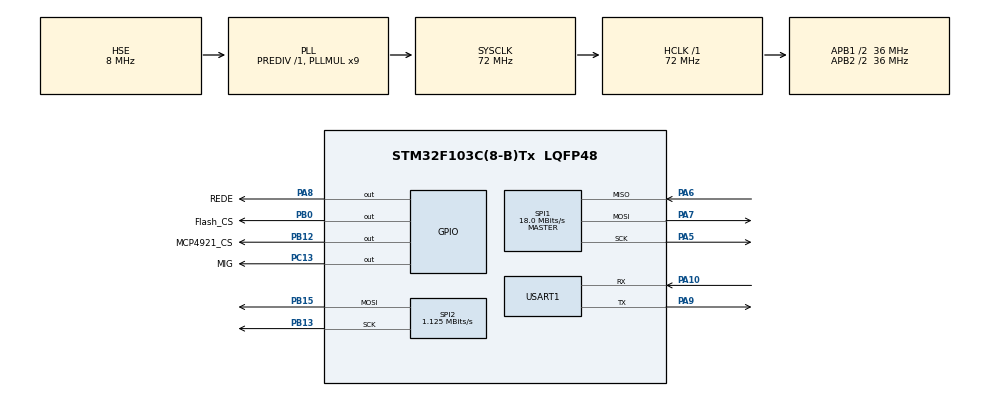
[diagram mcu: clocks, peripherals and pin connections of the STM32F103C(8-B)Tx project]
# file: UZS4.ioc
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Mcu.Family=STM32F1
Mcu.Name=STM32F103C(8-B)Tx
Mcu.Package=LQFP48
NVIC.PriorityGroup=NVIC_PRIORITYGROUP_4
NVIC.TIM2_IRQn=true\:0\:0\:false\:false\:true\:true\:true\:true
NVIC.USART1_IRQn=true\:0\:0\:false\:false\:true\:true\:true\:true
PA10.Mode=Asynchronous
PA10.Signal=USART1_RX
PA13.Mode=Serial_Wire
PA13.Signal=SYS_JTMS-SWDIO
PA14.Mode=Serial_Wire
PA14.Signal=SYS_JTCK-SWCLK
PA5.Mode=Full_Duplex_Master
PA5.Signal=SPI1_SCK
PA6.Mode=Full_Duplex_Master
PA6.Signal=SPI1_MISO
PA7.Mode=Full_Duplex_Master
PA7.Signal=SPI1_MOSI
PA8.GPIO_Label=REDE
PA8.Signal=GPIO_Output
PA9.Mode=Asynchronous
PA9.Signal=USART1_TX
PB0.GPIO_Label=Flash_CS
PB0.Signal=GPIO_Output
PB12.GPIO_Label=MCP4921_CS
PB12.GPIO_Speed=GPIO_SPEED_FREQ_MEDIUM
PB12.Signal=GPIO_Output
PB13.Mode=TX_Only_Simplex_Unidirect_Master
PB13.Signal=SPI2_SCK
PB15.Mode=TX_Only_Simplex_Unidirect_Master
PB15.Signal=SPI2_MOSI
PC13-TAMPER-RTC.GPIO_Label=MIG
PC13-TAMPER-RTC.Signal=GPIO_Output
PD0-OSC_IN.Mode=HSE-External-Oscillator
PD0-OSC_IN.Signal=RCC_OSC_IN
PD1-OSC_OUT.Mode=HSE-External-Oscillator
PD1-OSC_OUT.Signal=RCC_OSC_OUT
ProjectManager.HeapSize=0x200
ProjectManager.StackSize=0x400
ProjectManager.TargetToolchain=STM32CubeIDE
RCC.AHBFreq_Value=72000000
RCC.APB1CLKDivider=RCC_HCLK_DIV2
RCC.APB1Freq_Value=36000000
RCC.APB1TimFreq_Value=72000000
RCC.APB2CLKDivider=RCC_HCLK_DIV2
RCC.APB2Freq_Value=36000000
RCC.APB2TimFreq_Value=72000000
RCC.HCLKFreq_Value=72000000
RCC.PLLMUL=RCC_PLL_MUL9
RCC.PLLSourceVirtual=RCC_PLLSOURCE_HSE
RCC.SYSCLKFreq_VALUE=72000000
RCC.SYSCLKSource=RCC_SYSCLKSOURCE_PLLCLK
RCC.USBFreq_Value=72000000
SPI1.BaudRatePrescaler=SPI_BAUDRATEPRESCALER_2
SPI1.CalculateBaudRate=18.0 MBits/s
SPI1.Direction=SPI_DIRECTION_2LINES
SPI1.Mode=SPI_MODE_MASTER
SPI1.VirtualType=VM_MASTER
SPI2.BaudRatePrescaler=SPI_BAUDRATEPRESCALER_32
SPI2.CalculateBaudRate=1.125 MBits/s
SPI2.DataSize=SPI_DATASIZE_8BIT
SPI2.Direction=SPI_DIRECTION_2LINES
SPI2.Mode=SPI_MODE_MASTER
SPI2.VirtualType=VM_MASTER
TIM1.Prescaler=999
TIM2.Period=21
TIM2.Prescaler=71
USART1.VirtualMode=VM_ASYNC
VP_FATFS_VS_Generic.Mode=User_defined
VP_TIM1_VS_ClockSourceINT.Mode=Internal
VP_TIM2_VS_ClockSourceINT.Mode=Internal
board=custom

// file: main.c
/* USER CODE BEGIN Header */
/**
  ******************************************************************************
  * @file           : main.c
  * @brief          : Main program body
  ******************************************************************************
  * @attention
  *
  * Copyright (c) 2023 STMicroelectronics.
  * All rights reserved.
  *
  * This software is licensed under terms that can be found in the LICENSE file
  * in the root directory of this software component.
  * If no LICENSE file comes with this software, it is provided AS-IS.
  *
  ******************************************************************************
  */
/* USER CODE END Header */
#include "main.h"
#include "fatfs.h"

/* USER CODE BEGIN PD */
#define MCP4921_CMD_WRITE 0x3000
#define MCP4921_CMD_SHDN  0x2000
#define MCP4921_CMD_BUF   0x1000
#define MCP4921_CMD_GAIN  0x0800

/* USER CODE END PD */

SPI_HandleTypeDef hspi1;
SPI_HandleTypeDef hspi2;

TIM_HandleTypeDef htim1;
TIM_HandleTypeDef htim2;

UART_HandleTypeDef huart1;

/* USER CODE BEGIN PV */
void MCP4921_Write(uint16_t value)
{
  uint16_t cmd = MCP4921_CMD_WRITE | MCP4921_CMD_SHDN | MCP4921_CMD_BUF | MCP4921_CMD_GAIN;
  cmd |= (value & 0xFFF);

  // Активируем CS
  HAL_GPIO_WritePin(GPIOB, MCP4921_CS_Pin, GPIO_PIN_RESET);

  // Отправляем команду и данные
  HAL_SPI_Transmit(&hspi2, (uint8_t*)&cmd, 1, HAL_MAX_DELAY);
  HAL_SPI_Transmit(&hspi2, (uint8_t*)&value, 1, HAL_MAX_DELAY);

  // Деактивируем CS
  HAL_GPIO_WritePin(GPIOB, MCP4921_CS_Pin, GPIO_PIN_SET);
}
/* USER CODE END PV */

void SystemClock_Config(void);
static void MX_GPIO_Init(void);
static void MX_SPI1_Init(void);
static void MX_SPI2_Init(void);
static void MX_TIM1_Init(void);
static void MX_USART1_UART_Init(void);
static void MX_TIM2_Init(void);

int main(void)
{

  /* MCU Configuration--------------------------------------------------------*/

  /* Reset of all peripherals, Initializes the Flash interface and the Systick. */
  HAL_Init();

  /* Configure the system clock */
  SystemClock_Config();

  /* Initialize all configured peripherals */
  MX_GPIO_Init();
  MX_SPI1_Init();
  MX_SPI2_Init();
  MX_TIM1_Init();
  MX_USART1_UART_Init();
  MX_FATFS_Init();
  MX_TIM2_Init();

  /* Infinite loop */
  while (1)
  {

  }
}

void SystemClock_Config(void)
{
  RCC_OscInitTypeDef RCC_OscInitStruct = {0};
  RCC_ClkInitTypeDef RCC_ClkInitStruct = {0};

  /** Initializes the RCC Oscillators according to the specified parameters
  * in the RCC_OscInitTypeDef structure.
  */
  RCC_OscInitStruct.OscillatorType = RCC_OSCILLATORTYPE_HSE;
  RCC_OscInitStruct.HSEState = RCC_HSE_ON;
  RCC_OscInitStruct.HSEPredivValue = RCC_HSE_PREDIV_DIV1;
  RCC_OscInitStruct.HSIState = RCC_HSI_ON;
  RCC_OscInitStruct.PLL.PLLState = RCC_PLL_ON;
  RCC_OscInitStruct.PLL.PLLSource = RCC_PLLSOURCE_HSE;
  RCC_OscInitStruct.PLL.PLLMUL = RCC_PLL_MUL9;
  if (HAL_RCC_OscConfig(&RCC_OscInitStruct) != HAL_OK)
  {
    Error_Handler();
  }

  /** Initializes the CPU, AHB and APB buses clocks
  */
  RCC_ClkInitStruct.ClockType = RCC_CLOCKTYPE_HCLK|RCC_CLOCKTYPE_SYSCLK
                              |RCC_CLOCKTYPE_PCLK1|RCC_CLOCKTYPE_PCLK2;
  RCC_ClkInitStruct.SYSCLKSource = RCC_SYSCLKSOURCE_PLLCLK;
  RCC_ClkInitStruct.AHBCLKDivider = RCC_SYSCLK_DIV1;
  RCC_ClkInitStruct.APB1CLKDivider = RCC_HCLK_DIV2;
  RCC_ClkInitStruct.APB2CLKDivider = RCC_HCLK_DIV2;

  if (HAL_RCC_ClockConfig(&RCC_ClkInitStruct, FLASH_LATENCY_2) != HAL_OK)
  {
    Error_Handler();
  }
}

static void MX_SPI1_Init(void)
{

  /* SPI1 parameter configuration*/
  hspi1.Instance = SPI1;
  hspi1.Init.Mode = SPI_MODE_MASTER;
  hspi1.Init.Direction = SPI_DIRECTION_2LINES;
  hspi1.Init.DataSize = SPI_DATASIZE_8BIT;
  hspi1.Init.CLKPolarity = SPI_POLARITY_LOW;
  hspi1.Init.CLKPhase = SPI_PHASE_1EDGE;
  hspi1.Init.NSS = SPI_NSS_SOFT;
  hspi1.Init.BaudRatePrescaler = SPI_BAUDRATEPRESCALER_2;
  hspi1.Init.FirstBit = SPI_FIRSTBIT_MSB;
  hspi1.Init.TIMode = SPI_TIMODE_DISABLE;
  hspi1.Init.CRCCalculation = SPI_CRCCALCULATION_DISABLE;
  hspi1.Init.CRCPolynomial = 10;
  if (HAL_SPI_Init(&hspi1) != HAL_OK)
  {
    Error_Handler();
  }

}

static void MX_SPI2_Init(void)
{

  /* USER CODE BEGIN SPI2_Init 0 */
	__HAL_RCC_SPI1_CLK_ENABLE();
  /* USER CODE END SPI2_Init 0 */

  /* SPI2 parameter configuration*/
  hspi2.Instance = SPI2;
  hspi2.Init.Mode = SPI_MODE_MASTER;
  hspi2.Init.Direction = SPI_DIRECTION_2LINES;
  hspi2.Init.DataSize = SPI_DATASIZE_8BIT;
  hspi2.Init.CLKPolarity = SPI_POLARITY_LOW;
  hspi2.Init.CLKPhase = SPI_PHASE_1EDGE;
  hspi2.Init.NSS = SPI_NSS_SOFT;
  hspi2.Init.BaudRatePrescaler = SPI_BAUDRATEPRESCALER_32;
  hspi2.Init.FirstBit = SPI_FIRSTBIT_MSB;
  hspi2.Init.TIMode = SPI_TIMODE_DISABLE;
  hspi2.Init.CRCCalculation = SPI_CRCCALCULATION_DISABLE;
  hspi2.Init.CRCPolynomial = 10;
  if (HAL_SPI_Init(&hspi2) != HAL_OK)
  {
    Error_Handler();
  }
  /* USER CODE BEGIN SPI2_Init 2 */
  GPIO_InitTypeDef GPIO_InitStruct = {0};
  __HAL_RCC_GPIOB_CLK_ENABLE();
  GPIO_InitStruct.Pin = GPIO_PIN_12 | GPIO_PIN_13 | GPIO_PIN_15;
  GPIO_InitStruct.Mode = GPIO_MODE_AF_PP;
  GPIO_InitStruct.Pull = GPIO_NOPULL;
  HAL_GPIO_Init(GPIOB, &GPIO_InitStruct);
  /* USER CODE END SPI2_Init 2 */

}

static void MX_TIM1_Init(void)
{

  TIM_ClockConfigTypeDef sClockSourceConfig = {0};
  TIM_MasterConfigTypeDef sMasterConfig = {0};

  htim1.Instance = TIM1;
  htim1.Init.Prescaler = 999;
  htim1.Init.CounterMode = TIM_COUNTERMODE_UP;
  htim1.Init.Period = 65535;
  htim1.Init.ClockDivision = TIM_CLOCKDIVISION_DIV1;
  htim1.Init.RepetitionCounter = 0;
  htim1.Init.AutoReloadPreload = TIM_AUTORELOAD_PRELOAD_DISABLE;
  if (HAL_TIM_Base_Init(&htim1) != HAL_OK)
  {
    Error_Handler();
  }
  sClockSourceConfig.ClockSource = TIM_CLOCKSOURCE_INTERNAL;
  if (HAL_TIM_ConfigClockSource(&htim1, &sClockSourceConfig) != HAL_OK)
  {
    Error_Handler();
  }
  sMasterConfig.MasterOutputTrigger = TIM_TRGO_RESET;
  sMasterConfig.MasterSlaveMode = TIM_MASTERSLAVEMODE_DISABLE;
  if (HAL_TIMEx_MasterConfigSynchronization(&htim1, &sMasterConfig) != HAL_OK)
  {
    Error_Handler();
  }

}

static void MX_TIM2_Init(void)
{

  TIM_ClockConfigTypeDef sClockSourceConfig = {0};
  TIM_MasterConfigTypeDef sMasterConfig = {0};

  htim2.Instance = TIM2;
  htim2.Init.Prescaler = 71;
  htim2.Init.CounterMode = TIM_COUNTERMODE_UP;
  htim2.Init.Period = 21;
  htim2.Init.ClockDivision = TIM_CLOCKDIVISION_DIV1;
  htim2.Init.AutoReloadPreload = TIM_AUTORELOAD_PRELOAD_DISABLE;
  if (HAL_TIM_Base_Init(&htim2) != HAL_OK)
  {
    Error_Handler();
  }
  sClockSourceConfig.ClockSource = TIM_CLOCKSOURCE_INTERNAL;
  if (HAL_TIM_ConfigClockSource(&htim2, &sClockSourceConfig) != HAL_OK)
  {
    Error_Handler();
  }
  sMasterConfig.MasterOutputTrigger = TIM_TRGO_RESET;
  sMasterConfig.MasterSlaveMode = TIM_MASTERSLAVEMODE_DISABLE;
  if (HAL_TIMEx_MasterConfigSynchronization(&htim2, &sMasterConfig) != HAL_OK)
  {
    Error_Handler();
  }

}

static void MX_USART1_UART_Init(void)
{

  huart1.Instance = USART1;
  huart1.Init.BaudRate = 115200;
  huart1.Init.WordLength = UART_WORDLENGTH_8B;
  huart1.Init.StopBits = UART_STOPBITS_1;
  huart1.Init.Parity = UART_PARITY_NONE;
  huart1.Init.Mode = UART_MODE_TX_RX;
  huart1.Init.HwFlowCtl = UART_HWCONTROL_NONE;
  huart1.Init.OverSampling = UART_OVERSAMPLING_16;
  if (HAL_UART_Init(&huart1) != HAL_OK)
  {
    Error_Handler();
  }

}

static void MX_GPIO_Init(void)
{
  GPIO_InitTypeDef GPIO_InitStruct = {0};

  /* GPIO Ports Clock Enable */
  __HAL_RCC_GPIOC_CLK_ENABLE();
  __HAL_RCC_GPIOD_CLK_ENABLE();
  __HAL_RCC_GPIOA_CLK_ENABLE();
  __HAL_RCC_GPIOB_CLK_ENABLE();

  /*Configure GPIO pin Output Level */
  HAL_GPIO_WritePin(MIG_GPIO_Port, MIG_Pin, GPIO_PIN_RESET);

  /*Configure GPIO pin Output Level */
  HAL_GPIO_WritePin(GPIOB, Flash_CS_Pin|MCP4921_CS_Pin, GPIO_PIN_RESET);

  /*Configure GPIO pin Output Level */
  HAL_GPIO_WritePin(REDE_GPIO_Port, REDE_Pin, GPIO_PIN_RESET);

  /*Configure GPIO pin : MIG_Pin */
  GPIO_InitStruct.Pin = MIG_Pin;
  GPIO_InitStruct.Mode = GPIO_MODE_OUTPUT_PP;
  GPIO_InitStruct.Pull = GPIO_NOPULL;
  GPIO_InitStruct.Speed = GPIO_SPEED_FREQ_LOW;
  HAL_GPIO_Init(MIG_GPIO_Port, &GPIO_InitStruct);

  /*Configure GPIO pin : Flash_CS_Pin */
  GPIO_InitStruct.Pin = Flash_CS_Pin;
  GPIO_InitStruct.Mode = GPIO_MODE_OUTPUT_PP;
  GPIO_InitStruct.Pull = GPIO_NOPULL;
  GPIO_InitStruct.Speed = GPIO_SPEED_FREQ_LOW;
  HAL_GPIO_Init(Flash_CS_GPIO_Port, &GPIO_InitStruct);

  /*Configure GPIO pin : MCP4921_CS_Pin */
  GPIO_InitStruct.Pin = MCP4921_CS_Pin;
  GPIO_InitStruct.Mode = GPIO_MODE_OUTPUT_PP;
  GPIO_InitStruct.Pull = GPIO_NOPULL;
  GPIO_InitStruct.Speed = GPIO_SPEED_FREQ_MEDIUM;
  HAL_GPIO_Init(MCP4921_CS_GPIO_Port, &GPIO_InitStruct);

  /*Configure GPIO pin : REDE_Pin */
  GPIO_InitStruct.Pin = REDE_Pin;
  GPIO_InitStruct.Mode = GPIO_MODE_OUTPUT_PP;
  GPIO_InitStruct.Pull = GPIO_NOPULL;
  GPIO_InitStruct.Speed = GPIO_SPEED_FREQ_LOW;
  HAL_GPIO_Init(REDE_GPIO_Port, &GPIO_InitStruct);

}

void Error_Handler(void)
{
  __disable_irq();
  while (1)
  {
  }
}
